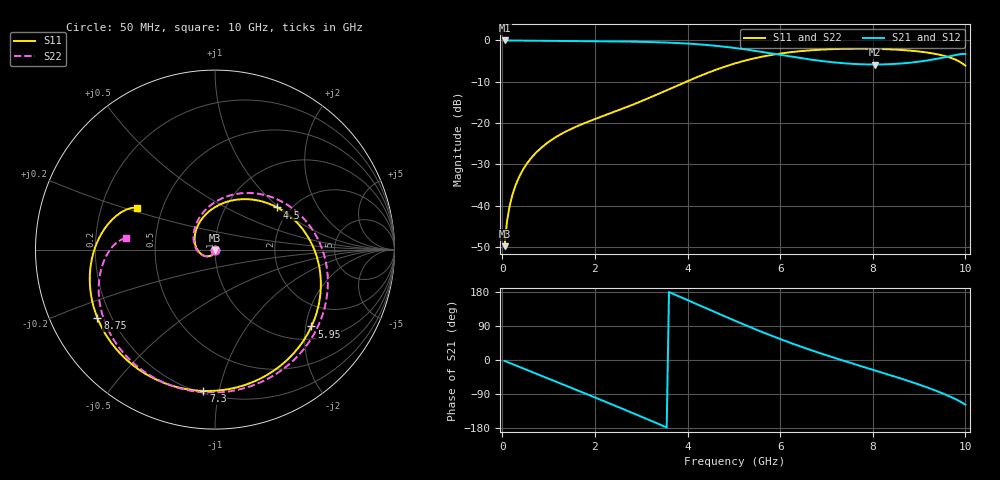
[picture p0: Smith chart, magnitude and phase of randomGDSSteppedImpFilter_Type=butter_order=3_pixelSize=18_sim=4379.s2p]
! freq	dB(S11)	phase(S11)	dB(S12)	phase(S12)
!  dB(S21)	phase(S21)	dB(S22)	phase(S22)
!S-par simulation data
#  GHz  S  DB  R 50
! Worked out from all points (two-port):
!   200 points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, 50 MHz to 10 GHz, reference 50 ohm
!   highest |S21| = 0.00 dB at 50 MHz (marker M1); lowest = -5.8 dB at 8.05 GHz (marker M2)
!   |S21| within 3 dB of the highest: start of sweep to 5.73 GHz
!   lowest |S11| = -49.8 dB at 50 MHz (marker M3), VSWR 1.01, Z = 50 - j0.323 ohm
!   |S11| at or under -10 dB: start of sweep to 3.969 GHz
!   |S22| runs from -50.0 to -2.0 dB; largest |S21 - S12| = 0
!   S11 on the Smith chart (normalised r, x): 50 MHz: 1.00, -0.01; 4.5 GHz: 1.71, +0.97; 5.95 GHz: 1.33, -2.15; 7.3 GHz: 0.21, -0.90; 8.75 GHz: 0.15, -0.26; 10 GHz: 0.36, +0.22
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0.05  -49.82 -89.6  -0.00 -2.5  -0.00 -2.5  -50.02 -90.8
0.1  -44.00 -92.5  -0.01 -5.0  -0.01 -5.0  -44.04 -93.6
0.2  -38.17 -98.5  -0.02 -9.9  -0.02 -9.9  -38.13 -98.7
0.5  -30.36 -115.1  -0.04 -24.7  -0.04 -24.7  -30.36 -114.5
1.15  -23.46 -148.8  -0.09 -56.7  -0.09 -56.7  -23.46 -146.9
1.75  -20.14 -179.8  -0.14 -86.3  -0.14 -86.3  -20.15 -176.1
2.1  -18.62 162.0  -0.18 -103.8  -0.18 -103.8  -18.63 167.0
2.5  -16.95 140.9  -0.24 -123.9  -0.24 -123.9  -16.96 147.6
2.95  -14.95 117.0  -0.32 -146.9  -0.32 -146.9  -14.97 125.6
3.4  -12.80 93.0  -0.46 -170.2  -0.46 -170.2  -12.81 103.0
3.9  -10.34 66.2  -0.69 163.4  -0.69 163.4  -10.35 77.3
4.5  -7.57 34.2  -1.18 131.3  -1.18 131.3  -7.57 45.9
5.05  -5.48 5.4  -1.87 102.2  -1.87 102.2  -5.48 17.2
5.5  -4.19 -17.2  -2.59 79.3  -2.59 79.3  -4.18 -5.4
5.95  -3.26 -38.5  -3.40 57.6  -3.40 57.6  -3.25 -26.8
6.7  -2.36 -71.0  -4.69 24.7  -4.69 24.7  -2.33 -59.2
7.3  -2.05 -94.7  -5.45 0.7  -5.45 0.7  -2.02 -82.6
8.05  -2.03 -122.9  -5.83 -27.6  -5.83 -27.6  -2.00 -109.9
8.35  -2.14 -134.2  -5.76 -38.9  -5.76 -38.9  -2.10 -120.8
8.75  -2.41 -149.8  -5.45 -54.5  -5.45 -54.5  -2.36 -135.5
9.4  -3.37 -178.3  -4.41 -82.8  -4.41 -82.8  -3.31 -161.6
10  -6.10 151.9  -3.28 -117.8  -3.28 -117.8  -6.00 172.9
